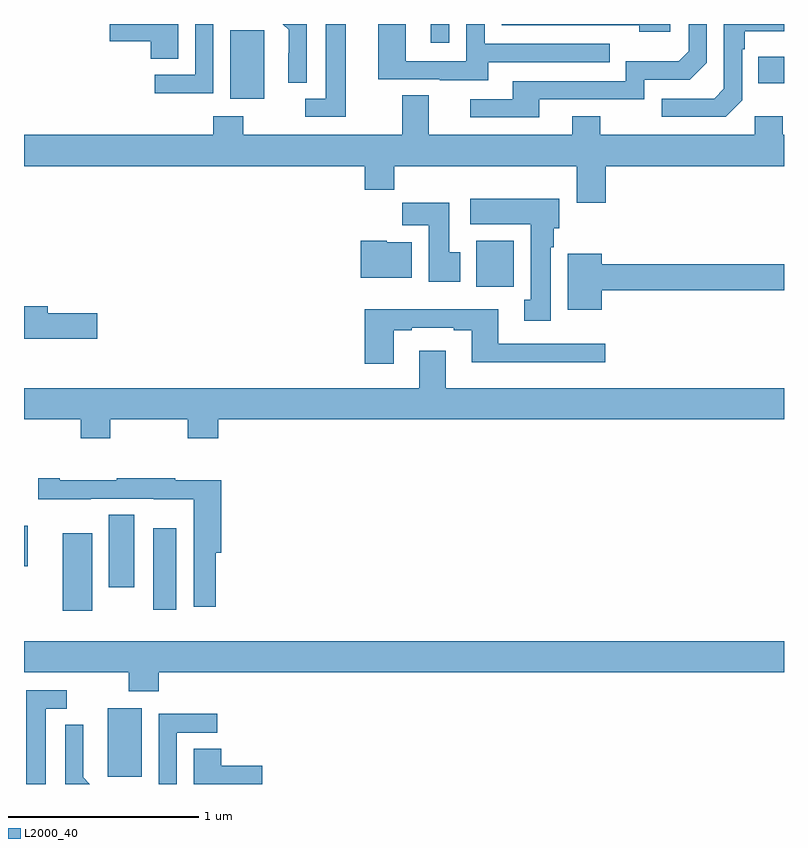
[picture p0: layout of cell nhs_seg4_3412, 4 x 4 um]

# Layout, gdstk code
import gdstk
lib = gdstk.Library(unit=1e-6, precision=1e-09)
def R(c, l, rs):  # rectangles x0, y0, x1, y1
    for r in rs: c.add(gdstk.rectangle(r[:2], r[2:], *l))
def P(c, l, *ps):  # polygons
    for p in ps: c.add(gdstk.Polygon(p, *l))
L2000_40 = (2000, 40)

nhs_seg4_3412 = lib.new_cell('nhs_seg4_3412')
R(nhs_seg4_3412, L2000_40, [(291.44,794.937,291.619,795.298), (291.203,795.813,291.358,796.219), (291.68,795.816,291.802,796.246), (291.446,795.936,291.58,796.316), (291,796.046,291.019,796.258), (293.381,797.516,293.578,797.758), (292.085,798.506,292.264,798.867), (294.865,798.587,295,798.727), (293.141,798.801,293.238,798.9)])
P(nhs_seg4_3412, L2000_40, [(293.713,798.504),(294.264,798.504),(294.264,798.606),(294.504,798.606),(294.594,798.696),(294.594,798.9),(294.498,798.9),(294.498,798.756),(294.445,798.703),(294.168,798.703),(294.168,798.6),(293.573,798.6),(293.573,798.504),(293.349,798.504),(293.349,798.408),(293.713,798.408)],
  [(294.78,798.498),(294.78,798.767),(294.793,798.767),(294.793,798.863),(295,798.863),(295,798.9),(294.684,798.9),(294.684,798.558),(294.633,798.507),(294.357,798.507),(294.357,798.411),(294.693,798.411)],
  [(291.811,798.9),(291.45,798.9),(291.45,798.809),(291.668,798.809),(291.668,798.718),(291.811,798.718)],
  [(294.4,798.9),(293.514,798.9),(293.514,798.894),(294.239,798.894),(294.239,798.86),(294.4,798.86)],
  [(292.488,798.9),(292.363,798.9),(292.394,798.869),(292.394,798.746),(292.392,798.746),(292.392,798.592),(292.488,798.592)],
  [(291.996,798.9),(291.9,798.9),(291.9,798.633),(291.687,798.633),(291.687,798.535),(291.996,798.535)],
  [(292.693,798.9),(292.589,798.9),(292.589,798.507),(292.479,798.507),(292.479,798.411),(292.693,798.411)],
  [(293.443,798.699),(294.083,798.699),(294.083,798.795),(293.424,798.795),(293.424,798.9),(293.328,798.9),(293.328,798.705),(293.01,798.705),(293.01,798.9),(292.865,798.9),(292.865,798.609),(293.189,798.609),(293.189,798.605),(293.443,798.605)],
  [(294.062,798.152),(295,798.152),(295,798.316),(294.993,798.316),(294.993,798.415),(294.846,798.415),(294.846,798.316),(294.033,798.316),(294.033,798.415),(293.885,798.415),(293.885,798.316),(293.131,798.316),(293.131,798.524),(292.991,798.524),(292.991,798.316),(292.155,798.316),(292.155,798.415),(291.995,798.415),(291.995,798.316),(291,798.316),(291,798.152),(292.793,798.152),(292.793,798.028),(292.949,798.028),(292.949,798.152),(293.909,798.152),(293.909,797.958),(294.062,797.958)],
  [(293.773,797.726),(293.788,797.726),(293.788,797.826),(293.818,797.826),(293.818,797.98),(293.349,797.98),(293.349,797.846),(293.666,797.846),(293.666,797.45),(293.633,797.45),(293.633,797.337),(293.773,797.337)],
  [(293.296,797.7),(293.239,797.7),(293.239,797.959),(292.99,797.959),(292.99,797.84),(293.129,797.84),(293.129,797.544),(293.296,797.544)],
  [(293.041,797.752),(292.908,797.752),(292.908,797.758),(292.772,797.758),(292.772,797.564),(293.041,797.564)],
  [(294.04,797.5),(295,797.5),(295,797.636),(294.04,797.636),(294.04,797.692),(293.861,797.692),(293.861,797.396),(294.04,797.396)],
  [(291.385,797.378),(291.124,797.378),(291.124,797.414),(291,797.414),(291,797.243),(291.385,797.243)],
  [(292.945,797.289),(293.041,797.289),(293.041,797.301),(293.261,797.301),(293.261,797.289),(293.357,797.289),(293.357,797.12),(294.058,797.12),(294.058,797.217),(293.497,797.217),(293.497,797.398),(292.793,797.398),(292.793,797.112),(292.945,797.112)],
  [(291.453,796.82),(291.862,796.82),(291.862,796.721),(292.022,796.721),(292.022,796.82),(295,796.82),(295,796.984),(293.221,796.984),(293.221,797.179),(293.081,797.179),(293.081,796.984),(291,796.984),(291,796.82),(291.298,796.82),(291.298,796.721),(291.453,796.721)],
  [(292.01,796.118),(292.037,796.118),(292.037,796.5),(291.797,796.5),(291.797,796.51),(291.487,796.51),(291.487,796.5),(291.187,796.5),(291.187,796.51),(291.075,796.51),(291.075,796.4),(291.35,796.4),(291.35,796.401),(291.684,796.401),(291.684,796.4),(291.894,796.4),(291.894,795.834),(292.01,795.834)],
  [(291.71,795.488),(295,795.488),(295,795.652),(291,795.652),(291,795.488),(291.55,795.488),(291.55,795.389),(291.71,795.389)],
  [(291.115,795.297),(291.226,795.297),(291.226,795.393),(291.011,795.393),(291.011,794.9),(291.115,794.9)],
  [(291.804,795.171),(292.018,795.171),(292.018,795.27),(291.708,795.27),(291.708,794.9),(291.804,794.9)],
  [(291.311,794.936),(291.311,795.058),(291.312,795.058),(291.312,795.212),(291.216,795.212),(291.216,794.9),(291.346,794.9)],
  [(292.255,794.996),(292.037,794.996),(292.037,795.086),(291.893,795.086),(291.893,794.9),(292.255,794.9)])

lib.write_gds('nhs_seg4_3412.gds')
